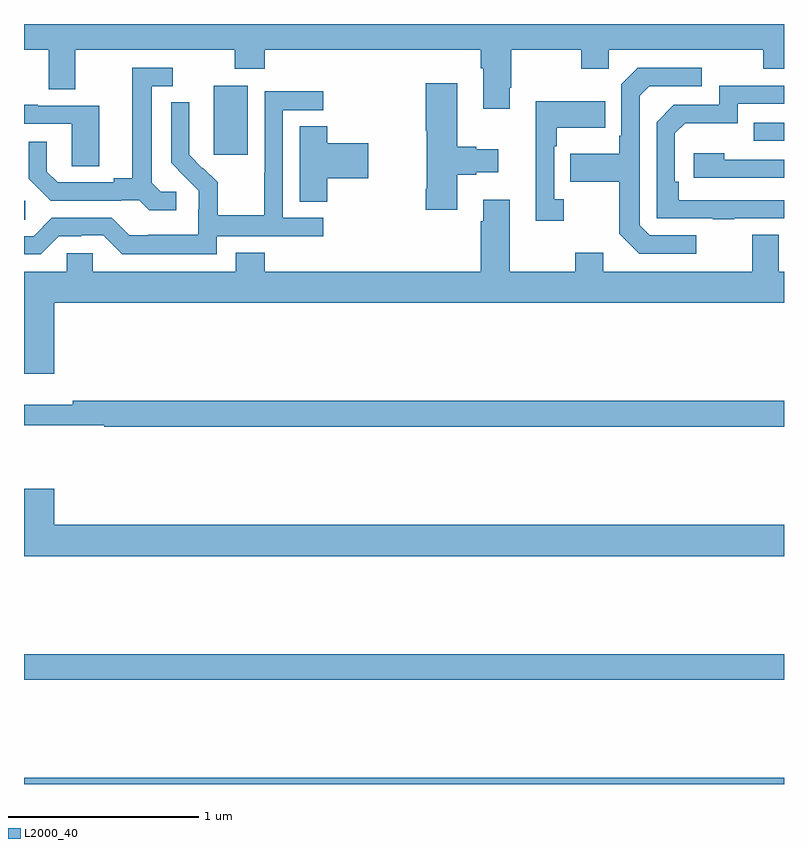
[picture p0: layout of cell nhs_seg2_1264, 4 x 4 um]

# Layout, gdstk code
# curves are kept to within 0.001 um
import gdstk
lib = gdstk.Library(unit=1e-6, precision=1e-09)
def R(c, l, rs):  # rectangles x0, y0, x1, y1
    for r in rs: c.add(gdstk.rectangle(r[:2], r[2:], *l))
def P(c, l, *ps):  # polygons
    for p in ps: c.add(gdstk.Polygon(p, *l))
L2000_40 = (2000, 40)

nhs_seg2_1264 = lib.new_cell('nhs_seg2_1264')
R(nhs_seg2_1264, L2000_40, [(177,615.8,181,615.832), (177,616.348,181,616.484), (177,618.769,177.007,618.87), (177.998,619.113,178.177,619.474), (180.841,619.185,181,619.281)])
P(nhs_seg2_1264, L2000_40, [(179.557,619.465),(179.565,619.465),(179.565,619.664),(179.932,619.664),(179.932,619.565),(180.078,619.565),(180.078,619.664),(180.892,619.664),(180.892,619.565),(181,619.565),(181,619.8),(177,619.8),(177,619.664),(177.131,619.664),(177.131,619.456),(177.271,619.456),(177.271,619.664),(178.108,619.664),(178.108,619.565),(178.268,619.565),(178.268,619.664),(179.405,619.664),(179.405,619.568),(179.417,619.568),(179.417,619.353),(179.557,619.353)],
  [(177.802,618.918),(177.72,618.918),(177.673,618.965),(177.673,619.473),(177.784,619.473),(177.784,619.569),(177.569,619.569),(177.569,618.989),(177.473,618.989),(177.473,618.966),(177.178,618.966),(177.121,619.023),(177.121,619.18),(177.024,619.18),(177.024,618.986),(177.14,618.87),(177.512,618.87),(177.512,618.873),(177.606,618.873),(177.658,618.821),(177.802,618.821)],
  [(180.538,618.687),(180.294,618.687),(180.24,618.741),(180.24,619.422),(180.291,619.473),(180.568,619.473),(180.568,619.569),(180.231,619.569),(180.144,619.482),(180.144,619.213),(180.132,619.213),(180.132,619.117),(179.875,619.117),(179.875,618.97),(180.132,618.97),(180.132,618.697),(180.237,618.591),(180.538,618.591)],
  [(179.281,619.007),(179.381,619.007),(179.381,619.019),(179.497,619.019),(179.497,619.141),(179.381,619.141),(179.381,619.154),(179.281,619.154),(179.281,619.489),(179.114,619.489),(179.114,619.237),(179.119,619.237),(179.119,618.934),(179.114,618.934),(179.114,618.822),(179.281,618.822)],
  [(180.737,618.777),(181,618.777),(181,618.873),(180.446,618.873),(180.446,618.97),(180.426,618.97),(180.426,619.224),(180.479,619.277),(180.756,619.277),(180.756,619.38),(181,619.38),(181,619.476),(180.66,619.476),(180.66,619.374),(180.42,619.374),(180.33,619.284),(180.33,618.777),(180.625,618.777),(180.625,618.772),(180.737,618.772)],
  [(178.014,618.684),(178.576,618.684),(178.576,618.78),(178.362,618.78),(178.362,619.347),(178.576,619.347),(178.576,619.446),(178.266,619.446),(178.266,619.016),(178.264,619.016),(178.264,618.793),(178.019,618.793),(178.019,618.967),(177.942,619.044),(177.939,619.041),(177.869,619.112),(177.87,619.388),(177.774,619.388),(177.774,619.07),(177.92,618.922),(177.92,618.825),(177.918,618.825),(177.918,618.691),(177.655,618.691),(177.655,618.687),(177.555,618.687),(177.462,618.78),(177.147,618.78),(177.051,618.684),(177,618.684),(177,618.588),(177.087,618.588),(177.183,618.684),(177.302,618.684),(177.302,618.687),(177.417,618.687),(177.517,618.587),(178.014,618.587)],
  [(179.842,618.878),(179.79,618.878),(179.79,619.157),(179.803,619.157),(179.803,619.253),(180.059,619.253),(180.059,619.393),(179.693,619.393),(179.693,618.765),(179.842,618.765)],
  [(177.397,619.371),(177.073,619.371),(177.073,619.375),(177,619.375),(177,619.275),(177.252,619.275),(177.252,619.051),(177.397,619.051)],
  [(178.595,618.989),(178.813,618.989),(178.813,619.172),(178.595,619.172),(178.595,619.262),(178.451,619.262),(178.451,618.865),(178.595,618.865)],
  [(181,619.086),(180.686,619.086),(180.686,619.12),(180.525,619.12),(180.525,618.99),(181,618.99)],
  [(181,618.496),(180.973,618.496),(180.973,618.691),(180.833,618.691),(180.833,618.496),(180.049,618.496),(180.049,618.595),(179.902,618.595),(179.902,618.496),(179.557,618.496),(179.557,618.874),(179.417,618.874),(179.417,618.761),(179.405,618.761),(179.405,618.496),(178.268,618.496),(178.268,618.595),(178.115,618.595),(178.115,618.496),(177.363,618.496),(177.363,618.594),(177.225,618.594),(177.225,618.496),(177,618.496),(177,617.958),(177.16,617.958),(177.16,618.332),(181,618.332)],
  [(181,617.816),(177.256,617.816),(177.256,617.797),(177,617.797),(177,617.688),(177.422,617.688),(177.422,617.68),(181,617.68)],
  [(181,617.164),(177.16,617.164),(177.16,617.353),(177,617.353),(177,617),(181,617)])

lib.write_gds('nhs_seg2_1264.gds')
